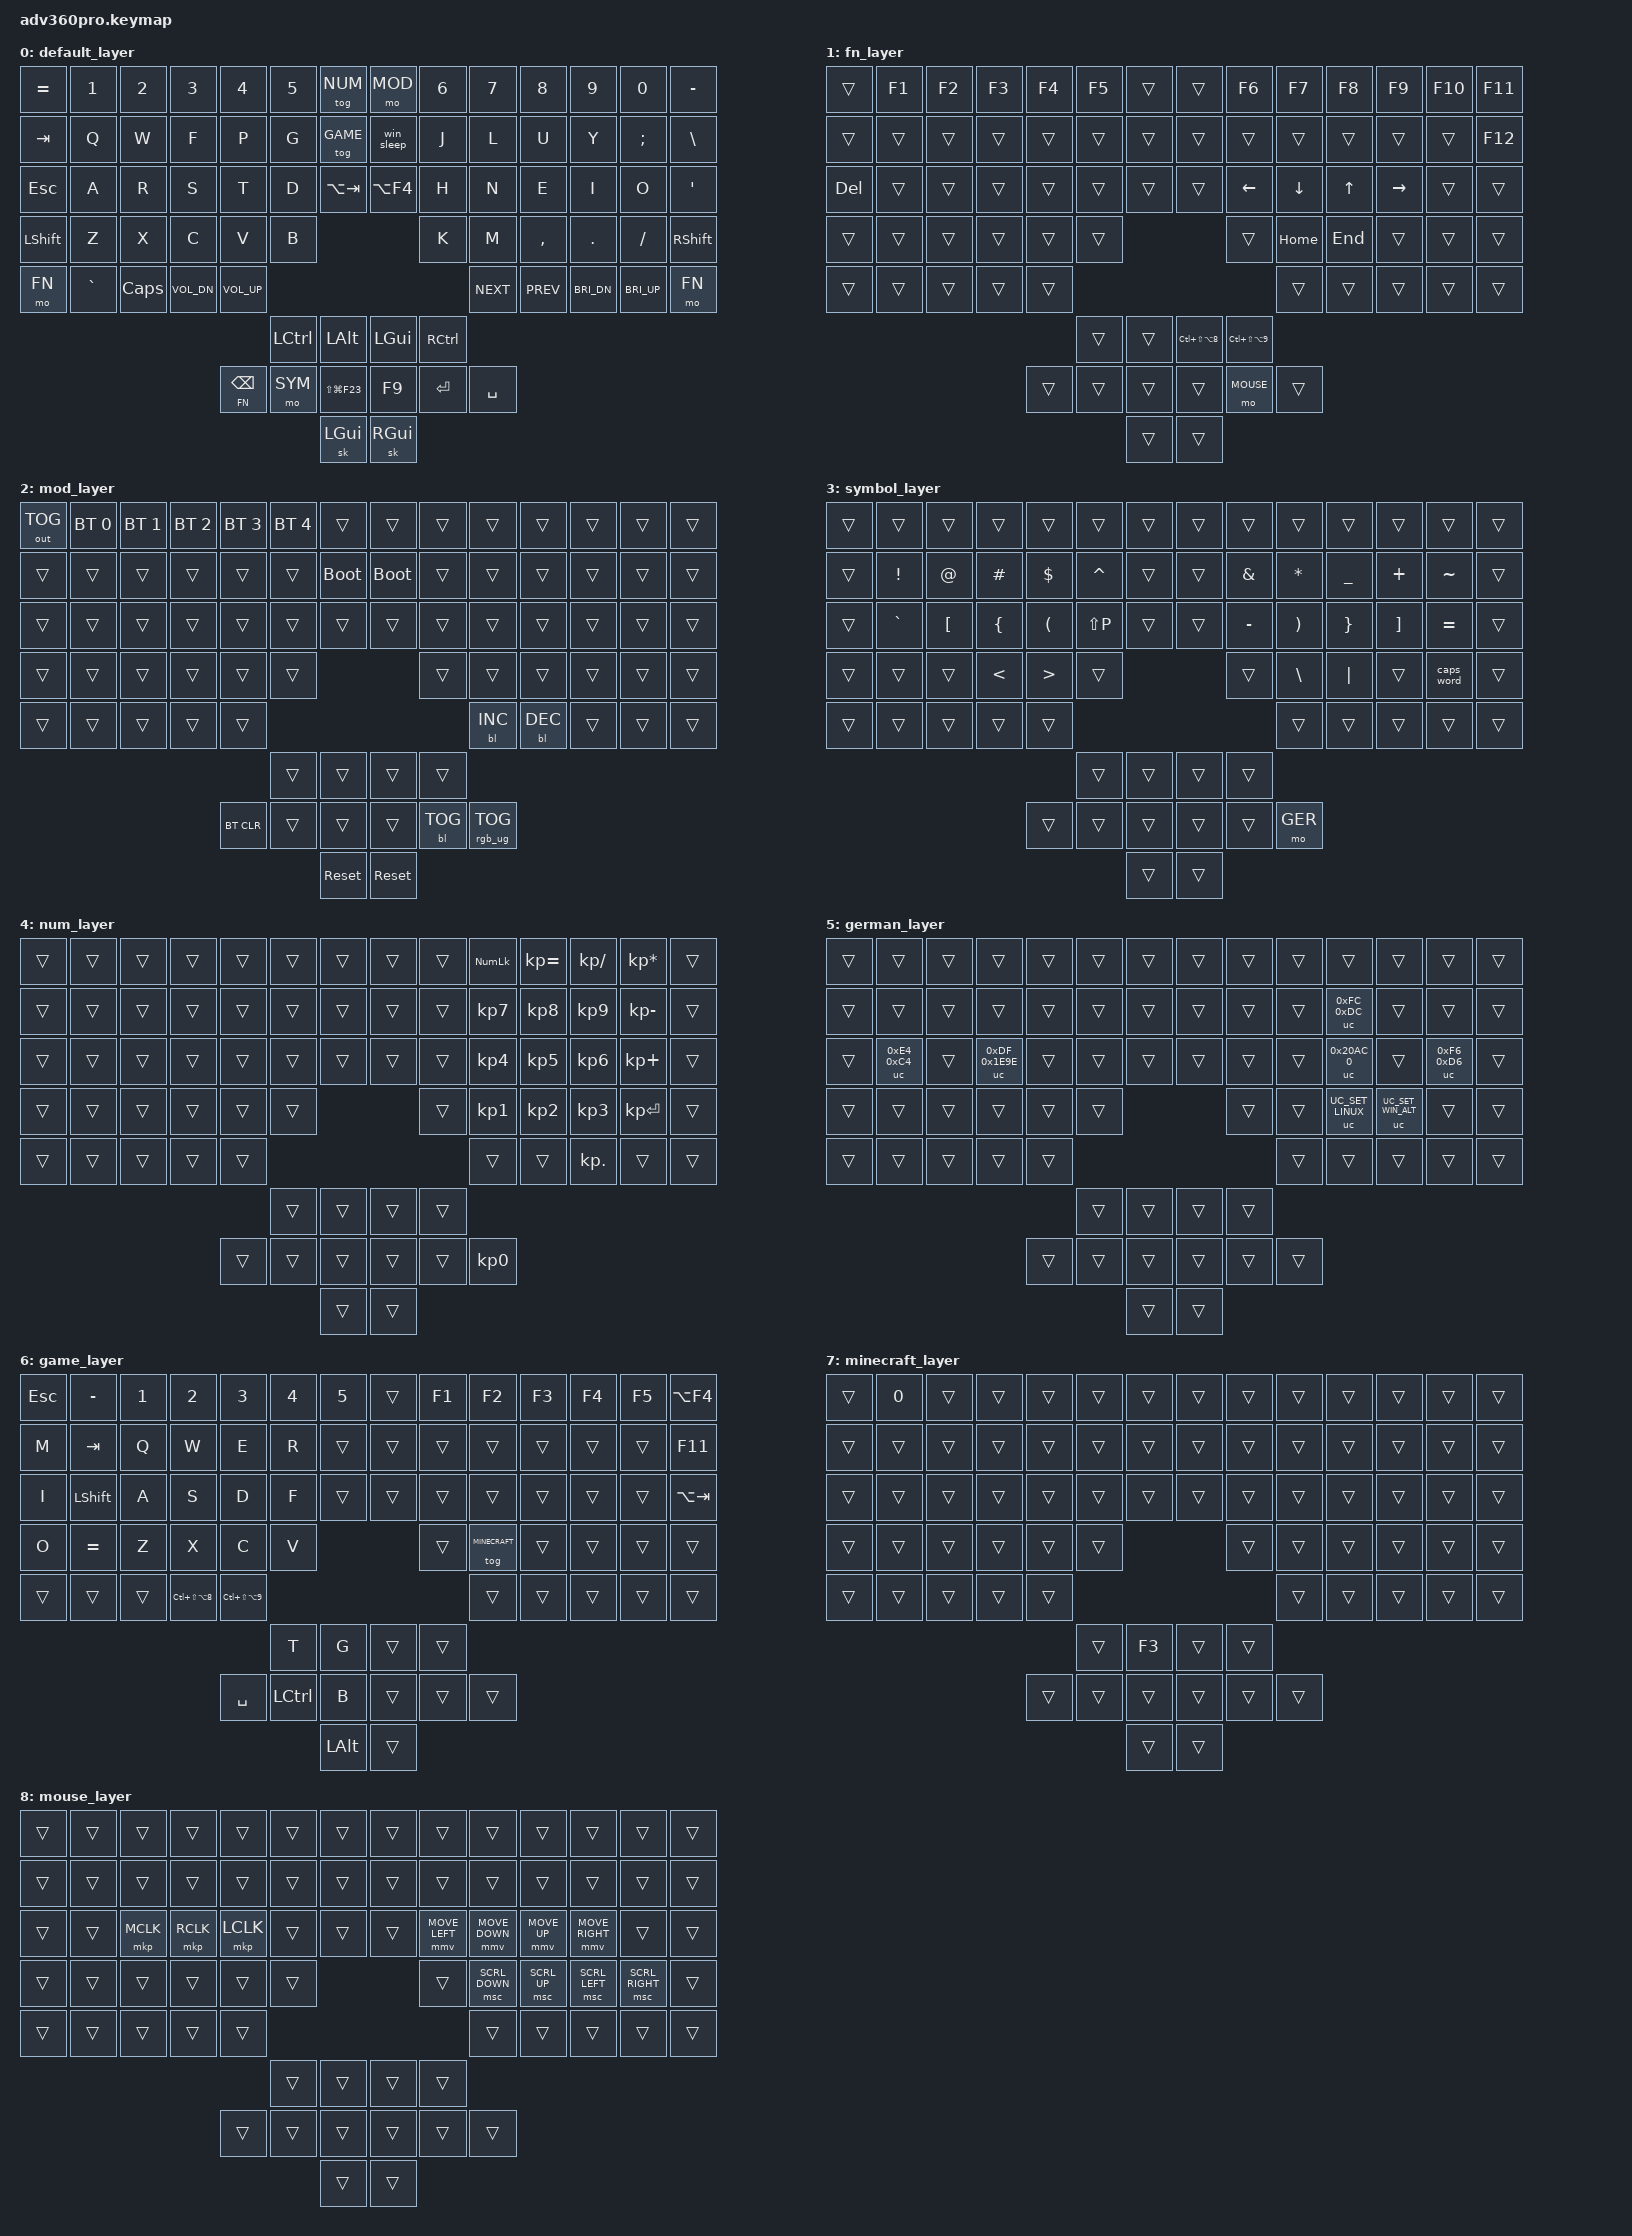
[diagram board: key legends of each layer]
#include <behaviors.dtsi>
#include <behaviors/unicode.dtsi>
#include <dt-bindings/zmk/keys.h>
#include <dt-bindings/zmk/bt.h>
#include <dt-bindings/zmk/rgb.h>
#include <dt-bindings/zmk/backlight.h>
#include <dt-bindings/zmk/outputs.h>
#define ZMK_POINTING_DEFAULT_MOVE_VAL 1600
#define ZMK_POINTING_DEFAULT_SCRL_VAL 12
#include <dt-bindings/zmk/pointing.h>

#define HOST_OS 2

#include "zmk-helpers/helper.h"
#include "zmk-helpers/key-labels/adv360.h"

#define ___ &trans

#define DEF 0
#define FN 1
#define MOD 2
#define SYM 3
#define NUM 4
#define GER 5
#define GAME 6
#define MINECRAFT 7
#define MOUSE 8

#define D_MUTE LC(LS(LA(N8)))
#define D_DEAF LC(LS(LA(N9)))
#define D_STREAM LC(LS(LA(N0)))

#define CCOLON LS(P)

&uc {
    default-mode = <UC_MODE_LINUX>;
};

&mmv {
    delay-ms = <60>;
    trigger-period-ms = <20>;
    time-to-max-speed-ms = <200>;
    acceleration-exponent = <1>;
};

&msc {
    delay-ms = <10>;
    trigger-period-ms = <80>;
    time-to-max-speed-ms = <80>;
    acceleration-exponent = <0>;
};

ZMK_COMBO(combo_mute, &kp C_MUTE, 58 57, DEF)
ZMK_COMBO(combo_auto_brightness, &kp RC(F12), 61 62, DEF)
ZMK_COMBO(combo_playpause, &kp C_PLAY_PAUSE, 59 60, DEF)
ZMK_COMBO(combo_playpause_game, &kp C_PLAY_PAUSE, 59 60, GAME)
ZMK_COMBO(combo_discord_stream_fn, &kp D_STREAM, 66 67, FN)
ZMK_COMBO(combo_discord_stream_game, &kp D_STREAM, 58 57, GAME)

ZMK_MOD_MORPH(delete,
  bindings = <&kp BSPC>, <&kp DEL>;
  mods = <(MOD_LSFT|MOD_RSFT)>;
)

ZMK_MACRO(win_sleep,
    wait-ms = <100>;
    tap-ms = <5>;
    bindings = <&kp LG(X) &kp R &kp E>;
)

ZMK_HOLD_TAP(ltp,
  flavor = "hold-preferred";
  tapping-term-ms = <250>;
  quick-tap-ms = <200>;
  retro-tap;
  bindings = <&mo>, <&kp>;
)

ZMK_TAP_DANCE(music,
  tapping-term-ms = <200>;
  bindings = <&kp C_PLAY_PAUSE>, <&kp C_NEXT>, <&kp C_PREV>;
)

ZMK_APPLY_MATRIX_TRANSFORM(urobs_transform)


ZMK_LAYER(default_layer,
    // ╭─────────────╮╭─────────────┬─────────────┬─────────────┬─────────────┬─────────────╮╭─────────────╮  ╭─────────────╮╭─────────────┬─────────────┬─────────────┬─────────────┬─────────────╮╭─────────────╮
         &kp EQUAL      &kp N1        &kp N2        &kp N3        &kp N4        &kp N5         &tog NUM         &mo MOD        &kp N6        &kp N7        &kp N8        &kp N9        &kp N0         &kp MINUS
    // ╰─────────────╯╰─────────────┴─────────────┴─────────────┴─────────────┴─────────────╯╰─────────────╯  ╰─────────────╯╰─────────────┴─────────────┴─────────────┴─────────────┴─────────────╯╰─────────────╯
    // ╭─────────────╮╭─────────────┬─────────────┬─────────────┬─────────────┬─────────────╮╭─────────────╮  ╭─────────────╮╭─────────────┬─────────────┬─────────────┬─────────────┬─────────────╮╭─────────────╮
         &kp TAB        &kp Q         &kp W         &kp F         &kp P         &kp G          &tog GAME        &win_sleep     &kp J         &kp L         &kp U         &kp Y         &kp SEMI       &kp BSLH
    // ├─────────────┤├─────────────┼─────────────┼─────────────┼─────────────┼─────────────┤├─────────────┤  ├─────────────┤├─────────────┼─────────────┼─────────────┼─────────────┼─────────────┤├─────────────┤
         &kp ESC        &kp A         &kp R         &kp S         &kp T         &kp D          &kp LA(TAB)      &kp LA(F4)     &kp H         &kp N         &kp E         &kp I         &kp O          &kp SQT
    // ├─────────────┤├─────────────┼─────────────┼─────────────┼─────────────┼─────────────┤╰─────────────╯  ╰─────────────╯├─────────────┼─────────────┼─────────────┼─────────────┼─────────────┤├─────────────┤
         &kp LSHIFT     &kp Z         &kp X         &kp C         &kp V         &kp B                                          &kp K         &kp M         &kp COMMA     &kp DOT       &kp FSLH       &kp RSHIFT
    // ╰─────────────╯╰─────────────┴─────────────┴─────────────┴─────────────┴─────────────╯                                ╰─────────────┴─────────────┴─────────────┴─────────────┴─────────────╯╰─────────────╯
    // ╭─────────────╮╭─────────────┬─────────────┬─────────────┬─────────────╮                                                            ╭─────────────┬─────────────┬─────────────┬─────────────╮╭─────────────╮
         &mo FN         &kp GRAVE     &kp CAPS      &kp C_VOL_DN  &kp C_VOL_UP                                                               &kp C_NEXT    &kp C_PREV    &kp C_BRI_DN  &kp C_BRI_UP   &mo FN
    // ╰─────────────╯╰─────────────┴─────────────┴─────────────┴─────────────╯╭─────────────┬─────────────╮  ╭─────────────┬─────────────╮╰─────────────┴─────────────┴─────────────┴─────────────╯╰─────────────╯
                                                                                 &kp LCTRL     &kp LALT         &kp LGUI      &kp RCTRL
    //                                                           ╭─────────────┼─────────────┼─────────────┤  ├─────────────┼─────────────┼─────────────╮
                                                                   &ltp FN BSPC  &mo SYM       &kp LS(LG(F23)) &kp F9        &kp ENTER     &kp SPACE
    //                                                           │             │             ├─────────────┤  ├─────────────┤             │             │
                                                                                               &sk LGUI         &sk RGUI
    //                                                           ╰─────────────┴─────────────┴─────────────╯  ╰─────────────┴─────────────┴─────────────╯
)


ZMK_LAYER(fn_layer,
    // ╭─────────────╮╭─────────────┬─────────────┬─────────────┬─────────────┬─────────────╮╭─────────────╮  ╭─────────────╮╭─────────────┬─────────────┬─────────────┬─────────────┬─────────────╮╭─────────────╮
         ___            &kp F1        &kp F2        &kp F3        &kp F4        &kp F5         ___              ___            &kp F6        &kp F7        &kp F8        &kp F9        &kp F10        &kp F11
    // ╰─────────────╯╰─────────────┴─────────────┴─────────────┴─────────────┴─────────────╯╰─────────────╯  ╰─────────────╯╰─────────────┴─────────────┴─────────────┴─────────────┴─────────────╯╰─────────────╯
    // ╭─────────────╮╭─────────────┬─────────────┬─────────────┬─────────────┬─────────────╮╭─────────────╮  ╭─────────────╮╭─────────────┬─────────────┬─────────────┬─────────────┬─────────────╮╭─────────────╮
         ___            ___           ___           ___           ___           ___            ___              ___            ___           ___           ___           ___           ___            &kp F12
    // ├─────────────┤├─────────────┼─────────────┼─────────────┼─────────────┼─────────────┤├─────────────┤  ├─────────────┤├─────────────┼─────────────┼─────────────┼─────────────┼─────────────┤├─────────────┤
         &kp DEL        ___           ___           ___           ___           ___            ___              ___            &kp LEFT      &kp DOWN      &kp UP        &kp RIGHT     ___            ___
    // ├─────────────┤├─────────────┼─────────────┼─────────────┼─────────────┼─────────────┤╰─────────────╯  ╰─────────────╯├─────────────┼─────────────┼─────────────┼─────────────┼─────────────┤├─────────────┤
         ___            ___           ___           ___           ___           ___                                            ___           &kp HOME      &kp END       ___           ___            ___
    // ╰─────────────╯╰─────────────┴─────────────┴─────────────┴─────────────┴─────────────╯                                ╰─────────────┴─────────────┴─────────────┴─────────────┴─────────────╯╰─────────────╯
    // ╭─────────────╮╭─────────────┬─────────────┬─────────────┬─────────────╮                                                            ╭─────────────┬─────────────┬─────────────┬─────────────╮╭─────────────╮
         ___            ___           ___           ___           ___                                                                        ___           ___           ___           ___            ___
    // ╰─────────────╯╰─────────────┴─────────────┴─────────────┴─────────────╯╭─────────────┬─────────────╮  ╭─────────────┬─────────────╮╰─────────────┴─────────────┴─────────────┴─────────────╯╰─────────────╯
                                                                                 ___           ___              &kp D_MUTE    &kp D_DEAF
    //                                                           ╭─────────────┼─────────────┼─────────────┤  ├─────────────┼─────────────┼─────────────╮
                                                                   ___           ___           ___              ___           &mo MOUSE     ___
    //                                                           │             │             ├─────────────┤  ├─────────────┤             │             │
                                                                                               ___              ___
    //                                                           ╰─────────────┴─────────────┴─────────────╯  ╰─────────────┴─────────────┴─────────────╯
)



ZMK_LAYER(mod_layer,
    // ╭─────────────╮╭─────────────┬─────────────┬─────────────┬─────────────┬─────────────╮╭─────────────╮  ╭─────────────╮╭─────────────┬─────────────┬─────────────┬─────────────┬─────────────╮╭─────────────╮
         &out OUT_TOG   &bt BT_SEL 0  &bt BT_SEL 1  &bt BT_SEL 2  &bt BT_SEL 3  &bt BT_SEL 4   ___              ___            ___           ___           ___           ___           ___            ___
    // ╰─────────────╯╰─────────────┴─────────────┴─────────────┴─────────────┴─────────────╯╰─────────────╯  ╰─────────────╯╰─────────────┴─────────────┴─────────────┴─────────────┴─────────────╯╰─────────────╯
    // ╭─────────────╮╭─────────────┬─────────────┬─────────────┬─────────────┬─────────────╮╭─────────────╮  ╭─────────────╮╭─────────────┬─────────────┬─────────────┬─────────────┬─────────────╮╭─────────────╮
         ___            ___           ___           ___           ___           ___            &bootloader      &bootloader    ___           ___           ___           ___           ___            ___
    // ├─────────────┤├─────────────┼─────────────┼─────────────┼─────────────┼─────────────┤├─────────────┤  ├─────────────┤├─────────────┼─────────────┼─────────────┼─────────────┼─────────────┤├─────────────┤
         ___            ___           ___           ___           ___           ___            ___              ___            ___           ___           ___           ___           ___            ___
    // ├─────────────┤├─────────────┼─────────────┼─────────────┼─────────────┼─────────────┤╰─────────────╯  ╰─────────────╯├─────────────┼─────────────┼─────────────┼─────────────┼─────────────┤├─────────────┤
         ___            ___           ___           ___           ___           ___                                            ___           ___           ___           ___           ___            ___
    // ╰─────────────╯╰─────────────┴─────────────┴─────────────┴─────────────┴─────────────╯                                ╰─────────────┴─────────────┴─────────────┴─────────────┴─────────────╯╰─────────────╯
    // ╭─────────────╮╭─────────────┬─────────────┬─────────────┬─────────────╮                                                            ╭─────────────┬─────────────┬─────────────┬─────────────╮╭─────────────╮
         ___            ___           ___           ___           ___                                                                        &bl BL_INC    &bl BL_DEC    ___           ___            ___
    // ╰─────────────╯╰─────────────┴─────────────┴─────────────┴─────────────╯╭─────────────┬─────────────╮  ╭─────────────┬─────────────╮╰─────────────┴─────────────┴─────────────┴─────────────╯╰─────────────╯
                                                                                 ___           ___              ___           ___
    //                                                           ╭─────────────┼─────────────┼─────────────┤  ├─────────────┼─────────────┼─────────────╮
                                                                   &bt BT_CLR    ___           ___              ___           &bl BL_TOG    &rgb_ug RGB_TOG
    //                                                           │             │             ├─────────────┤  ├─────────────┤             │             │
                                                                                               &sys_reset       &sys_reset
    //                                                           ╰─────────────┴─────────────┴─────────────╯  ╰─────────────┴─────────────┴─────────────╯
)


ZMK_LAYER(symbol_layer, // tilde
    // ╭─────────────╮╭─────────────┬─────────────┬─────────────┬─────────────┬─────────────╮╭─────────────╮  ╭─────────────╮╭─────────────┬─────────────┬─────────────┬─────────────┬─────────────╮╭─────────────╮
         ___            ___           ___           ___           ___           ___            ___              ___            ___           ___           ___           ___           ___            ___
    // ╰─────────────╯╰─────────────┴─────────────┴─────────────┴─────────────┴─────────────╯╰─────────────╯  ╰─────────────╯╰─────────────┴─────────────┴─────────────┴─────────────┴─────────────╯╰─────────────╯
    // ╭─────────────╮╭─────────────┬─────────────┬─────────────┬─────────────┬─────────────╮╭─────────────╮  ╭─────────────╮╭─────────────┬─────────────┬─────────────┬─────────────┬─────────────╮╭─────────────╮
         ___            &kp EXCL      &kp AT        &kp HASH      &kp DOLLAR    &kp CARET      ___              ___            &kp AMPS      &kp STAR      &kp UNDER     &kp PLUS      &kp TILDE      ___
    // ├─────────────┤├─────────────┼─────────────┼─────────────┼─────────────┼─────────────┤├─────────────┤  ├─────────────┤├─────────────┼─────────────┼─────────────┼─────────────┼─────────────┤├─────────────┤
         ___            &kp GRAVE     &kp LBKT      &kp LBRC      &kp LPAR      &kp CCOLON     ___              ___            &kp MINUS     &kp RPAR      &kp RBRC      &kp RBKT      &kp EQUAL      ___
    // ├─────────────┤├─────────────┼─────────────┼─────────────┼─────────────┼─────────────┤╰─────────────╯  ╰─────────────╯├─────────────┼─────────────┼─────────────┼─────────────┼─────────────┤├─────────────┤
         ___            ___           ___           &kp LT        &kp GT        ___                                            ___           &kp BSLH      &kp PIPE      ___           &caps_word     ___
    // ╰─────────────╯╰─────────────┴─────────────┴─────────────┴─────────────┴─────────────╯                                ╰─────────────┴─────────────┴─────────────┴─────────────┴─────────────╯╰─────────────╯
    // ╭─────────────╮╭─────────────┬─────────────┬─────────────┬─────────────╮                                                            ╭─────────────┬─────────────┬─────────────┬─────────────╮╭─────────────╮
         ___            ___           ___           ___           ___                                                                        ___           ___           ___           ___            ___
    // ╰─────────────╯╰─────────────┴─────────────┴─────────────┴─────────────╯╭─────────────┬─────────────╮  ╭─────────────┬─────────────╮╰─────────────┴─────────────┴─────────────┴─────────────╯╰─────────────╯
                                                                                 ___           ___              ___           ___
    //                                                           ╭─────────────┼─────────────┼─────────────┤  ├─────────────┼─────────────┼─────────────╮
                                                                   ___           ___           ___              ___           ___           &mo GER
    //                                                           │             │             ├─────────────┤  ├─────────────┤             │             │
                                                                                               ___              ___
    //                                                           ╰─────────────┴─────────────┴─────────────╯  ╰─────────────┴─────────────┴─────────────╯
)



ZMK_LAYER(num_layer,
    // ╭─────────────╮╭─────────────┬─────────────┬─────────────┬─────────────┬─────────────╮╭─────────────╮  ╭─────────────╮╭─────────────┬─────────────┬─────────────┬─────────────┬───────────────╮╭─────────────╮
         ___            ___           ___           ___           ___           ___            ___              ___            ___           &kp KP_NUM    &kp KP_EQUAL  &kp KP_DIVIDE &kp KP_MULTIPLY  ___
    // ╰─────────────╯╰─────────────┴─────────────┴─────────────┴─────────────┴─────────────╯╰─────────────╯  ╰─────────────╯╰─────────────┴─────────────┴─────────────┴─────────────┴───────────────╯╰─────────────╯
    // ╭─────────────╮╭─────────────┬─────────────┬─────────────┬─────────────┬─────────────╮╭─────────────╮  ╭─────────────╮╭─────────────┬─────────────┬─────────────┬─────────────┬───────────────╮╭─────────────╮
         ___            ___           ___           ___           ___           ___            ___              ___            ___           &kp KP_N7     &kp KP_N8     &kp KP_N9     &kp KP_MINUS     ___
    // ├─────────────┤├─────────────┼─────────────┼─────────────┼─────────────┼─────────────┤├─────────────┤  ├─────────────┤├─────────────┼─────────────┼─────────────┼─────────────┼───────────────┤├─────────────┤
         ___            ___           ___           ___           ___           ___            ___              ___            ___           &kp KP_N4     &kp KP_N5     &kp KP_N6     &kp KP_PLUS      ___
    // ├─────────────┤├─────────────┼─────────────┼─────────────┼─────────────┼─────────────┤╰─────────────╯  ╰─────────────╯├─────────────┼─────────────┼─────────────┼─────────────┼───────────────┤├─────────────┤
         ___            ___           ___           ___           ___           ___                                            ___           &kp KP_N1     &kp KP_N2     &kp KP_N3     &kp KP_ENTER     ___
    // ╰─────────────╯╰─────────────┴─────────────┴─────────────┴─────────────┴─────────────╯                                ╰─────────────┴─────────────┴─────────────┴─────────────┴───────────────╯╰─────────────╯
    // ╭─────────────╮╭─────────────┬─────────────┬─────────────┬─────────────╮                                                            ╭─────────────┬─────────────┬─────────────┬───────────────╮╭─────────────╮
         ___            ___           ___           ___           ___                                                                        ___           ___           &kp KP_DOT    ___              ___
    // ╰─────────────╯╰─────────────┴─────────────┴─────────────┴─────────────╯╭─────────────┬─────────────╮  ╭─────────────┬─────────────╮╰─────────────┴─────────────┴─────────────┴───────────────╯╰─────────────╯
                                                                                 ___           ___              ___           ___
    //                                                           ╭─────────────┼─────────────┼─────────────┤  ├─────────────┼─────────────┼─────────────╮
                                                                   ___           ___           ___              ___           ___           &kp KP_N0
    //                                                           │             │             ├─────────────┤  ├─────────────┤             │             │
                                                                                               ___              ___
    //                                                           ╰─────────────┴─────────────┴─────────────╯  ╰─────────────┴─────────────┴─────────────╯
)


ZMK_LAYER(german_layer,
    // ╭─────────────╮╭─────────────┬─────────────┬─────────────┬─────────────┬─────────────╮╭─────────────╮  ╭─────────────╮╭─────────────┬─────────────┬─────────────┬─────────────┬─────────────╮╭─────────────╮
         ___            ___           ___           ___           ___           ___            ___              ___            ___           ___           ___           ___           ___            ___
    // ╰─────────────╯╰─────────────┴─────────────┴─────────────┴─────────────┴─────────────╯╰─────────────╯  ╰─────────────╯╰─────────────┴─────────────┴─────────────┴─────────────┴─────────────╯╰─────────────╯
    // ╭─────────────╮╭─────────────┬─────────────┬─────────────┬─────────────┬─────────────╮╭─────────────╮  ╭─────────────╮╭─────────────┬─────────────┬─────────────┬─────────────┬─────────────╮╭─────────────╮
         ___            ___           ___           ___           ___           ___            ___              ___            ___           ___          &uc 0xFC 0xDC  ___           ___            ___
    // ├─────────────┤├─────────────┼─────────────┼─────────────┼─────────────┼─────────────┤├─────────────┤  ├─────────────┤├─────────────┼─────────────┼─────────────┼─────────────┼─────────────┤├─────────────┤
         ___           &uc 0xE4 0xC4  ___         &uc 0xDF 0x1E9E  ___          ___            ___              ___            ___           ___           &uc 0x20AC 0  ___           &uc 0xF6 0xD6  ___
    // ├─────────────┤├─────────────┼─────────────┼─────────────┼─────────────┼─────────────┤╰─────────────╯  ╰─────────────╯├─────────────┼─────────────┼─────────────┼─────────────┼─────────────┤├─────────────┤
         ___            ___           ___           ___           ___           ___                                            ___           ___  &uc UC_SET_LINUX  &uc UC_SET_WIN_ALT  ___           ___
    // ╰─────────────╯╰─────────────┴─────────────┴─────────────┴─────────────┴─────────────╯                                ╰─────────────┴─────────────┴─────────────┴─────────────┴─────────────╯╰─────────────╯
    // ╭─────────────╮╭─────────────┬─────────────┬─────────────┬─────────────╮                                                            ╭─────────────┬─────────────┬─────────────┬─────────────╮╭─────────────╮
         ___            ___           ___           ___           ___                                                                        ___           ___           ___           ___            ___
    // ╰─────────────╯╰─────────────┴─────────────┴─────────────┴─────────────╯╭─────────────┬─────────────╮  ╭─────────────┬─────────────╮╰─────────────┴─────────────┴─────────────┴─────────────╯╰─────────────╯
                                                                                 ___           ___              ___           ___
    //                                                           ╭─────────────┼─────────────┼─────────────┤  ├─────────────┼─────────────┼─────────────╮
                                                                   ___           ___           ___              ___           ___           ___
    //                                                           │             │             ├─────────────┤  ├─────────────┤             │             │
                                                                                               ___              ___
    //                                                           ╰─────────────┴─────────────┴─────────────╯  ╰─────────────┴─────────────┴─────────────╯
)


ZMK_LAYER(game_layer,
    // ╭─────────────╮╭─────────────┬─────────────┬─────────────┬─────────────┬─────────────╮╭───────────────╮  ╭─────────────╮╭─────────────┬─────────────┬─────────────┬─────────────┬─────────────╮╭─────────────╮
         &kp ESC        &kp MINUS     &kp N1        &kp N2        &kp N3        &kp N4         &kp N5             ___            &kp F1        &kp F2        &kp F3        &kp F4        &kp F5         &kp LA(F4)
    // ╰─────────────╯╰─────────────┴─────────────┴─────────────┴─────────────┴─────────────╯╰───────────────╯  ╰─────────────╯╰─────────────┴─────────────┴─────────────┴─────────────┴─────────────╯╰─────────────╯
    // ╭─────────────╮╭─────────────┬─────────────┬─────────────┬─────────────┬─────────────╮╭───────────────╮  ╭─────────────╮╭─────────────┬─────────────┬─────────────┬─────────────┬─────────────╮╭─────────────╮
         &kp M          &kp TAB       &kp Q         &kp W         &kp E         &kp R          ___                ___            ___           ___           ___           ___           ___            &kp F11
    // ├─────────────┤├─────────────┼─────────────┼─────────────┼─────────────┼─────────────┤├───────────────┤  ├─────────────┤├─────────────┼─────────────┼─────────────┼─────────────┼─────────────┤├─────────────┤
         &kp I          &kp LSHIFT    &kp A         &kp S         &kp D         &kp F          ___                ___            ___           ___           ___           ___           ___            &kp LA(TAB)
    // ├─────────────┤├─────────────┼─────────────┼─────────────┼─────────────┼─────────────┤╰───────────────╯  ╰─────────────╯├─────────────┼─────────────┼─────────────┼─────────────┼─────────────┤├─────────────┤
         &kp O          &kp EQUAL     &kp Z         &kp X         &kp C         &kp V                                            ___           &tog MINECRAFT  ___         ___           ___            ___
    // ╰─────────────╯╰─────────────┴─────────────┴─────────────┴─────────────┴─────────────╯                                  ╰─────────────┴─────────────┴─────────────┴─────────────┴─────────────╯╰─────────────╯
    // ╭─────────────╮╭─────────────┬─────────────┬─────────────┬─────────────╮                                                              ╭─────────────┬─────────────┬─────────────┬─────────────╮╭─────────────╮
         ___            ___           ___           &kp D_MUTE    &kp D_DEAF                                                                   ___           ___           ___           ___            ___
    // ╰─────────────╯╰─────────────┴─────────────┴─────────────┴─────────────╯╭─────────────┬───────────────╮  ╭─────────────┬─────────────╮╰─────────────┴─────────────┴─────────────┴─────────────╯╰─────────────╯
                                                                                  &kp T         &kp G              ___           ___
    //                                                           ╭─────────────┼─────────────┼───────────────┤  ├─────────────┼─────────────┼─────────────╮
                                                                    &kp SPACE     &kp LCTRL     &kp B              ___           ___           ___
    //                                                           │             │             ├───────────────┤  ├─────────────┤             │             │
                                                                                                &kp LALT           ___
    //                                                           ╰─────────────┴─────────────┴───────────────╯  ╰─────────────┴─────────────┴─────────────╯
)


ZMK_LAYER(minecraft_layer,
    // ╭─────────────╮╭─────────────┬─────────────┬─────────────┬─────────────┬─────────────╮╭───────────────╮  ╭─────────────╮╭─────────────┬─────────────┬─────────────┬─────────────┬─────────────╮╭─────────────╮
         ___            &kp N0        ___           ___           ___           ___            ___                ___            ___           ___           ___           ___           ___            ___
    // ╰─────────────╯╰─────────────┴─────────────┴─────────────┴─────────────┴─────────────╯╰───────────────╯  ╰─────────────╯╰─────────────┴─────────────┴─────────────┴─────────────┴─────────────╯╰─────────────╯
    // ╭─────────────╮╭─────────────┬─────────────┬─────────────┬─────────────┬─────────────╮╭───────────────╮  ╭─────────────╮╭─────────────┬─────────────┬─────────────┬─────────────┬─────────────╮╭─────────────╮
         ___            ___           ___           ___           ___           ___            ___                ___            ___           ___           ___           ___           ___            ___
    // ├─────────────┤├─────────────┼─────────────┼─────────────┼─────────────┼─────────────┤├───────────────┤  ├─────────────┤├─────────────┼─────────────┼─────────────┼─────────────┼─────────────┤├─────────────┤
         ___            ___           ___           ___           ___           ___            ___                ___            ___           ___           ___           ___           ___            ___
    // ├─────────────┤├─────────────┼─────────────┼─────────────┼─────────────┼─────────────┤╰───────────────╯  ╰─────────────╯├─────────────┼─────────────┼─────────────┼─────────────┼─────────────┤├─────────────┤
         ___            ___           ___           ___           ___           ___                                              ___           ___           ___           ___           ___            ___
    // ╰─────────────╯╰─────────────┴─────────────┴─────────────┴─────────────┴─────────────╯                                  ╰─────────────┴─────────────┴─────────────┴─────────────┴─────────────╯╰─────────────╯
    // ╭─────────────╮╭─────────────┬─────────────┬─────────────┬─────────────╮                                                              ╭─────────────┬─────────────┬─────────────┬─────────────╮╭─────────────╮
         ___            ___           ___           ___           ___                                                                          ___           ___           ___           ___            ___
    // ╰─────────────╯╰─────────────┴─────────────┴─────────────┴─────────────╯╭─────────────┬───────────────╮  ╭─────────────┬─────────────╮╰─────────────┴─────────────┴─────────────┴─────────────╯╰─────────────╯
                                                                                  ___           &kp F3            ___           ___
    //                                                           ╭─────────────┼─────────────┼───────────────┤  ├─────────────┼─────────────┼─────────────╮
                                                                    ___           ___           ___               ___           ___           ___
    //                                                           │             │             ├───────────────┤  ├─────────────┤             │             │
                                                                                                ___               ___
    //                                                           ╰─────────────┴─────────────┴───────────────╯  ╰─────────────┴─────────────┴─────────────╯
)

ZMK_LAYER(mouse_layer,
    // ╭─────────────╮╭─────────────┬─────────────┬─────────────┬─────────────┬─────────────╮╭─────────────╮  ╭─────────────╮╭─────────────┬─────────────┬─────────────┬─────────────┬─────────────╮╭─────────────╮
         ___            ___           ___           ___           ___           ___            ___              ___            ___           ___           ___           ___           ___            ___
    // ╰─────────────╯╰─────────────┴─────────────┴─────────────┴─────────────┴─────────────╯╰─────────────╯  ╰─────────────╯╰─────────────┴─────────────┴─────────────┴─────────────┴─────────────╯╰─────────────╯
    // ╭─────────────╮╭─────────────┬─────────────┬─────────────┬─────────────┬─────────────╮╭─────────────╮  ╭─────────────╮╭─────────────┬─────────────┬─────────────┬─────────────┬─────────────╮╭─────────────╮
         ___            ___           ___           ___           ___           ___            ___              ___            ___           ___           ___           ___           ___            ___
    // ├─────────────┤├─────────────┼─────────────┼─────────────┼─────────────┼─────────────┤├─────────────┤  ├─────────────┤├─────────────┼─────────────┼─────────────┼─────────────┼─────────────┤├─────────────┤
         ___            ___           &mkp MCLK     &mkp RCLK     &mkp LCLK     ___            ___              ___            &mmv MOVE_LEFT &mmv MOVE_DOWN &mmv MOVE_UP  &mmv MOVE_RIGHT ___            ___
    // ├─────────────┤├─────────────┼─────────────┼─────────────┼─────────────┼─────────────┤╰─────────────╯  ╰─────────────╯├─────────────┼─────────────┼─────────────┼─────────────┼─────────────┤├─────────────┤
         ___            ___           ___           ___           ___           ___                                            ___           &msc SCRL_DOWN  &msc SCRL_UP  &msc SCRL_LEFT &msc SCRL_RIGHT ___
    // ╰─────────────╯╰─────────────┴─────────────┴─────────────┴─────────────┴─────────────╯                                ╰─────────────┴─────────────┴─────────────┴─────────────┴─────────────╯╰─────────────╯
    // ╭─────────────╮╭─────────────┬─────────────┬─────────────┬─────────────╮                                                            ╭─────────────┬─────────────┬─────────────┬─────────────╮╭─────────────╮
         ___            ___           ___           ___           ___                                                                        ___           ___           ___           ___            ___
    // ╰─────────────╯╰─────────────┴─────────────┴─────────────┴─────────────╯╭─────────────┬─────────────╮  ╭─────────────┬─────────────╮╰─────────────┴─────────────┴─────────────┴─────────────╯╰─────────────╯
                                                                                 ___           ___              ___           ___
    //                                                           ╭─────────────┼─────────────┼─────────────┤  ├─────────────┼─────────────┼─────────────╮
                                                                   ___           ___           ___              ___           ___           ___
    //                                                           │             │             ├─────────────┤  ├─────────────┤             │             │
                                                                                               ___              ___
    //                                                           ╰─────────────┴─────────────┴─────────────╯  ╰─────────────┴─────────────┴─────────────╯
)
